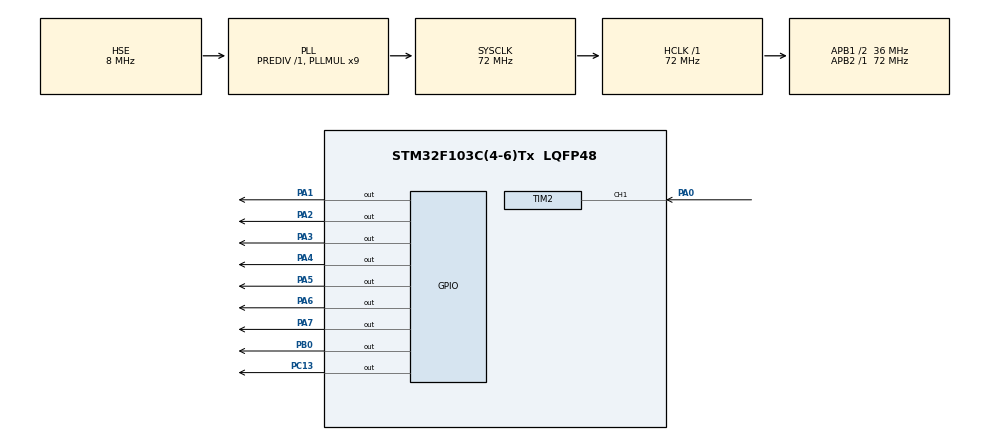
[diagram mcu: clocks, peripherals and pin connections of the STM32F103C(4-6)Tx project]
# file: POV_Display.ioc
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Mcu.Family=STM32F1
Mcu.Name=STM32F103C(4-6)Tx
Mcu.Package=LQFP48
NVIC.PriorityGroup=NVIC_PRIORITYGROUP_4
NVIC.TIM2_IRQn=true\:0\:0\:false\:false\:true\:true\:true\:true
NVIC.TIM3_IRQn=true\:0\:0\:false\:false\:true\:true\:true\:true
PA0-WKUP.Signal=S_TIM2_CH1_ETR
PA1.GPIO_Speed=GPIO_SPEED_FREQ_MEDIUM
PA1.Signal=GPIO_Output
PA13.Mode=Serial_Wire
PA13.Signal=SYS_JTMS-SWDIO
PA14.Mode=Serial_Wire
PA14.Signal=SYS_JTCK-SWCLK
PA2.GPIO_Speed=GPIO_SPEED_FREQ_MEDIUM
PA2.Signal=GPIO_Output
PA3.GPIO_Speed=GPIO_SPEED_FREQ_MEDIUM
PA3.Signal=GPIO_Output
PA4.GPIO_Speed=GPIO_SPEED_FREQ_MEDIUM
PA4.Signal=GPIO_Output
PA5.GPIO_Speed=GPIO_SPEED_FREQ_MEDIUM
PA5.Signal=GPIO_Output
PA6.GPIO_Speed=GPIO_SPEED_FREQ_MEDIUM
PA6.Signal=GPIO_Output
PA7.GPIO_Speed=GPIO_SPEED_FREQ_MEDIUM
PA7.Signal=GPIO_Output
PB0.GPIO_Speed=GPIO_SPEED_FREQ_MEDIUM
PB0.Signal=GPIO_Output
PC13-TAMPER-RTC.GPIO_Speed=GPIO_SPEED_FREQ_MEDIUM
PC13-TAMPER-RTC.Signal=GPIO_Output
PC14-OSC32_IN.Mode=LSE-External-Oscillator
PC14-OSC32_IN.Signal=RCC_OSC32_IN
PC15-OSC32_OUT.Mode=LSE-External-Oscillator
PC15-OSC32_OUT.Signal=RCC_OSC32_OUT
PD0-OSC_IN.Mode=HSE-External-Oscillator
PD0-OSC_IN.Signal=RCC_OSC_IN
PD1-OSC_OUT.Mode=HSE-External-Oscillator
PD1-OSC_OUT.Signal=RCC_OSC_OUT
ProjectManager.HeapSize=0x200
ProjectManager.StackSize=0x400
ProjectManager.TargetToolchain=STM32CubeIDE
RCC.AHBFreq_Value=72000000
RCC.APB1CLKDivider=RCC_HCLK_DIV2
RCC.APB1Freq_Value=36000000
RCC.APB1TimFreq_Value=72000000
RCC.APB2Freq_Value=72000000
RCC.APB2TimFreq_Value=72000000
RCC.HCLKFreq_Value=72000000
RCC.PLLMUL=RCC_PLL_MUL9
RCC.PLLSourceVirtual=RCC_PLLSOURCE_HSE
RCC.SYSCLKFreq_VALUE=72000000
RCC.SYSCLKSource=RCC_SYSCLKSOURCE_PLLCLK
RCC.USBFreq_Value=72000000
SH.S_TIM2_CH1_ETR.0=TIM2_CH1,Input_Capture1_from_TI1
TIM2.AutoReloadPreload=TIM_AUTORELOAD_PRELOAD_ENABLE
TIM2.Channel-Input_Capture1_from_TI1=TIM_CHANNEL_1
TIM2.ICFilter_CH1=10
TIM2.ICPolarity_CH1=TIM_INPUTCHANNELPOLARITY_FALLING
TIM2.Period=65535
TIM2.Prescaler=0
TIM3.AutoReloadPreload=TIM_AUTORELOAD_PRELOAD_ENABLE
TIM3.Period=39
TIM3.Prescaler=0
VP_TIM2_VS_ClockSourceINT.Mode=Internal
VP_TIM3_VS_ClockSourceINT.Mode=Internal
board=custom

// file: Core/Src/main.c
/* USER CODE BEGIN Header */
/**
  ******************************************************************************
  * @file           : main.c
  * @brief          : Main program body
  ******************************************************************************
  * @attention
  *
  * Copyright (c) 2024 STMicroelectronics.
  * All rights reserved.
  *
  * This software is licensed under terms that can be found in the LICENSE file
  * in the root directory of this software component.
  * If no LICENSE file comes with this software, it is provided AS-IS.
  *
  ******************************************************************************
  */
/* USER CODE END Header */
#include "main.h"

/* USER CODE BEGIN Includes */
#include "POV_Display.h"
/* USER CODE END Includes */

TIM_HandleTypeDef htim2;
TIM_HandleTypeDef htim3;

/* USER CODE BEGIN PV */

const uint8_t data[RESOLUTION] =      /* حرة فلسطين */
{
		0x00, 0x04, 0x0c, 0x1c, 0x3c, 0x7c, 0x3c, 0x1c,
		0x0c, 0x04, 0x00, 0x00, 0x71, 0xcd, 0xd8, 0x70,
		0x00, 0x40, 0xc0, 0x6c, 0x38, 0x30, 0x30, 0x30,
		0x30, 0x30, 0x30, 0x30, 0x30, 0x30, 0x30, 0x30,

		0x34, 0x36, 0x16, 0x1c, 0x18, 0x18, 0x00, 0x00,
		0x00, 0x70, 0xc8, 0xc1, 0xc0, 0x64, 0x38, 0xb0,
		0xb0, 0x30, 0x1c, 0x30, 0x3f, 0x38, 0x34, 0x36,
		0x36, 0x1c, 0x30, 0x30, 0x30, 0x30, 0x30, 0x30,

		0x30, 0x30, 0x30, 0x30, 0x30, 0x30, 0x30, 0x30,
		0x30, 0x18, 0x30, 0x30, 0x1c, 0x30, 0x36, 0x1c,
		0x30, 0x30, 0x30, 0x1f, 0x30, 0x30, 0x30, 0x30,
		0x36, 0x15, 0x0e, 0x00, 0x00, 0x00, 0x00, 0x00

};
/* USER CODE END PV */

void SystemClock_Config(void);
static void MX_GPIO_Init(void);
static void MX_TIM2_Init(void);
static void MX_TIM3_Init(void);

int main(void)
{

  /* MCU Configuration--------------------------------------------------------*/

  /* Reset of all peripherals, Initializes the Flash interface and the Systick. */
  HAL_Init();

  /* Configure the system clock */
  SystemClock_Config();

  /* Initialize all configured peripherals */
  MX_GPIO_Init();
  MX_TIM2_Init();
  MX_TIM3_Init();
  /* USER CODE BEGIN 2 */
  POV_Init();
  /*POV_SetCursor(0);
  POV_WriteChar('D');
  HAL_Delay(3000);
  POV_Clear();
  POV_SetCursor(10);
  POV_WriteString((const uint8_t*)"David Alexander");
  HAL_Delay(3000);
  POV_InvertDisplay();
  HAL_Delay(2000);
  POV_Clear();*/
  //POV_DrawBitmap(data, 128);
  /*HAL_Delay(3000);
  POV_Clear();
  POV_WriteCharInPos('k',10);
  HAL_Delay(3000);
  POV_WritePixel(7, 100, ON);
  POV_WritePixel(1, 5, ON);
  HAL_Delay(3000);
  POV_Clear();
  POV_WriteStringInPos((const uint8_t*)"{ Rotella 2024 }", 12);
  HAL_Delay(3000);
  POV_Clear();
  POV_SetCursor(1);
  POV_WriteChar('D');
  HAL_Delay(500);
  POV_WriteChar('a');
  HAL_Delay(500);
  POV_WriteChar('v');
  HAL_Delay(500);
  POV_WriteChar('i');
  HAL_Delay(500);
  POV_WriteChar('d');
  HAL_Delay(1000);
  POV_SetCursor(5);
  POV_WriteChar(' ');
  HAL_Delay(500);
  POV_SetCursor(4);
  POV_WriteChar(' ');
  HAL_Delay(500);
  POV_SetCursor(3);
  POV_WriteChar(' ');
  HAL_Delay(500);
  POV_SetCursor(2);
  POV_WriteChar(' ');
  HAL_Delay(500);
  POV_SetCursor(1);
  POV_WriteChar(' ');
  HAL_Delay(500);
  POV_WriteStringInPos((const uint8_t*)"Free Palestine", 0);
  HAL_Delay(500);
  POV_Clear();
  HAL_Delay(500);
  POV_DrawFrame(5, 5, 20, 5);
  HAL_Delay(1000);
  POV_Clear();
  POV_DrawTriangle(5, 5, 0, 10, 5, 15);
  HAL_Delay(1000);
  POV_Clear();
  POV_DrawStar(3, 20, 5, 10);*/
  //POV_DrawLine(7, 5, 7, 25);
  //POV_DrawLine(80, 0, 80, 7);
  //HAL_Delay(1000);
  //POV_DrawTriangle(8,7, 15,7, 15, 0);
  //POV_DrawTriangle(30,7, 50,7, 30, 0);
  POV_DrawBitmap(data, 96);
  HAL_Delay(5000);
  uint8_t Counter = 0;
  /* USER CODE END 2 */

  /* Infinite loop */
  while (1)
  {

    /* USER CODE BEGIN 3 */
	  for ( Counter = 0; Counter < POVDigits; Counter++ )
	  {
		  POV_Clear();
		  POV_WriteStringInPos((const uint8_t*)"Free Palestine", Counter);
		  HAL_Delay(200);
	  }
	  HAL_Delay(3000);
	  for ( Counter = POVDigits - 1; Counter >= 0 && Counter < POVDigits; Counter-- )
	  {
		  POV_Clear();
	  	  POV_WriteStringInPos((const uint8_t*)"Free Palestine", Counter);
	  	  HAL_Delay(200);
	  }
	  HAL_Delay(3000);

  }
  /* USER CODE END 3 */
}

void SystemClock_Config(void)
{
  RCC_OscInitTypeDef RCC_OscInitStruct = {0};
  RCC_ClkInitTypeDef RCC_ClkInitStruct = {0};

  /** Initializes the RCC Oscillators according to the specified parameters
  * in the RCC_OscInitTypeDef structure.
  */
  RCC_OscInitStruct.OscillatorType = RCC_OSCILLATORTYPE_HSE;
  RCC_OscInitStruct.HSEState = RCC_HSE_ON;
  RCC_OscInitStruct.HSEPredivValue = RCC_HSE_PREDIV_DIV1;
  RCC_OscInitStruct.HSIState = RCC_HSI_ON;
  RCC_OscInitStruct.PLL.PLLState = RCC_PLL_ON;
  RCC_OscInitStruct.PLL.PLLSource = RCC_PLLSOURCE_HSE;
  RCC_OscInitStruct.PLL.PLLMUL = RCC_PLL_MUL9;
  if (HAL_RCC_OscConfig(&RCC_OscInitStruct) != HAL_OK)
  {
    Error_Handler();
  }

  /** Initializes the CPU, AHB and APB buses clocks
  */
  RCC_ClkInitStruct.ClockType = RCC_CLOCKTYPE_HCLK|RCC_CLOCKTYPE_SYSCLK
                              |RCC_CLOCKTYPE_PCLK1|RCC_CLOCKTYPE_PCLK2;
  RCC_ClkInitStruct.SYSCLKSource = RCC_SYSCLKSOURCE_PLLCLK;
  RCC_ClkInitStruct.AHBCLKDivider = RCC_SYSCLK_DIV1;
  RCC_ClkInitStruct.APB1CLKDivider = RCC_HCLK_DIV2;
  RCC_ClkInitStruct.APB2CLKDivider = RCC_HCLK_DIV1;

  if (HAL_RCC_ClockConfig(&RCC_ClkInitStruct, FLASH_LATENCY_2) != HAL_OK)
  {
    Error_Handler();
  }
}

static void MX_TIM2_Init(void)
{

  TIM_ClockConfigTypeDef sClockSourceConfig = {0};
  TIM_MasterConfigTypeDef sMasterConfig = {0};
  TIM_IC_InitTypeDef sConfigIC = {0};

  htim2.Instance = TIM2;
  htim2.Init.Prescaler = 0;
  htim2.Init.CounterMode = TIM_COUNTERMODE_UP;
  htim2.Init.Period = 65535;
  htim2.Init.ClockDivision = TIM_CLOCKDIVISION_DIV1;
  htim2.Init.AutoReloadPreload = TIM_AUTORELOAD_PRELOAD_ENABLE;
  if (HAL_TIM_Base_Init(&htim2) != HAL_OK)
  {
    Error_Handler();
  }
  sClockSourceConfig.ClockSource = TIM_CLOCKSOURCE_INTERNAL;
  if (HAL_TIM_ConfigClockSource(&htim2, &sClockSourceConfig) != HAL_OK)
  {
    Error_Handler();
  }
  if (HAL_TIM_IC_Init(&htim2) != HAL_OK)
  {
    Error_Handler();
  }
  sMasterConfig.MasterOutputTrigger = TIM_TRGO_RESET;
  sMasterConfig.MasterSlaveMode = TIM_MASTERSLAVEMODE_DISABLE;
  if (HAL_TIMEx_MasterConfigSynchronization(&htim2, &sMasterConfig) != HAL_OK)
  {
    Error_Handler();
  }
  sConfigIC.ICPolarity = TIM_INPUTCHANNELPOLARITY_FALLING;
  sConfigIC.ICSelection = TIM_ICSELECTION_DIRECTTI;
  sConfigIC.ICPrescaler = TIM_ICPSC_DIV1;
  sConfigIC.ICFilter = 10;
  if (HAL_TIM_IC_ConfigChannel(&htim2, &sConfigIC, TIM_CHANNEL_1) != HAL_OK)
  {
    Error_Handler();
  }

}

static void MX_TIM3_Init(void)
{

  TIM_ClockConfigTypeDef sClockSourceConfig = {0};
  TIM_MasterConfigTypeDef sMasterConfig = {0};

  htim3.Instance = TIM3;
  htim3.Init.Prescaler = 0;
  htim3.Init.CounterMode = TIM_COUNTERMODE_UP;
  htim3.Init.Period = 39;
  htim3.Init.ClockDivision = TIM_CLOCKDIVISION_DIV1;
  htim3.Init.AutoReloadPreload = TIM_AUTORELOAD_PRELOAD_ENABLE;
  if (HAL_TIM_Base_Init(&htim3) != HAL_OK)
  {
    Error_Handler();
  }
  sClockSourceConfig.ClockSource = TIM_CLOCKSOURCE_INTERNAL;
  if (HAL_TIM_ConfigClockSource(&htim3, &sClockSourceConfig) != HAL_OK)
  {
    Error_Handler();
  }
  sMasterConfig.MasterOutputTrigger = TIM_TRGO_RESET;
  sMasterConfig.MasterSlaveMode = TIM_MASTERSLAVEMODE_DISABLE;
  if (HAL_TIMEx_MasterConfigSynchronization(&htim3, &sMasterConfig) != HAL_OK)
  {
    Error_Handler();
  }

}

static void MX_GPIO_Init(void)
{
  GPIO_InitTypeDef GPIO_InitStruct = {0};

  /* GPIO Ports Clock Enable */
  __HAL_RCC_GPIOC_CLK_ENABLE();
  __HAL_RCC_GPIOD_CLK_ENABLE();
  __HAL_RCC_GPIOA_CLK_ENABLE();
  __HAL_RCC_GPIOB_CLK_ENABLE();

  /*Configure GPIO pin Output Level */
  HAL_GPIO_WritePin(GPIOC, GPIO_PIN_13, GPIO_PIN_RESET);

  /*Configure GPIO pin Output Level */
  HAL_GPIO_WritePin(GPIOA, GPIO_PIN_1|GPIO_PIN_2|GPIO_PIN_3|GPIO_PIN_4
                          |GPIO_PIN_5|GPIO_PIN_6|GPIO_PIN_7, GPIO_PIN_RESET);

  /*Configure GPIO pin Output Level */
  HAL_GPIO_WritePin(GPIOB, GPIO_PIN_0, GPIO_PIN_RESET);

  /*Configure GPIO pin : PC13 */
  GPIO_InitStruct.Pin = GPIO_PIN_13;
  GPIO_InitStruct.Mode = GPIO_MODE_OUTPUT_PP;
  GPIO_InitStruct.Pull = GPIO_NOPULL;
  GPIO_InitStruct.Speed = GPIO_SPEED_FREQ_MEDIUM;
  HAL_GPIO_Init(GPIOC, &GPIO_InitStruct);

  /*Configure GPIO pins : PA1 PA2 PA3 PA4
                           PA5 PA6 PA7 */
  GPIO_InitStruct.Pin = GPIO_PIN_1|GPIO_PIN_2|GPIO_PIN_3|GPIO_PIN_4
                          |GPIO_PIN_5|GPIO_PIN_6|GPIO_PIN_7;
  GPIO_InitStruct.Mode = GPIO_MODE_OUTPUT_PP;
  GPIO_InitStruct.Pull = GPIO_NOPULL;
  GPIO_InitStruct.Speed = GPIO_SPEED_FREQ_MEDIUM;
  HAL_GPIO_Init(GPIOA, &GPIO_InitStruct);

  /*Configure GPIO pin : PB0 */
  GPIO_InitStruct.Pin = GPIO_PIN_0;
  GPIO_InitStruct.Mode = GPIO_MODE_OUTPUT_PP;
  GPIO_InitStruct.Pull = GPIO_NOPULL;
  GPIO_InitStruct.Speed = GPIO_SPEED_FREQ_MEDIUM;
  HAL_GPIO_Init(GPIOB, &GPIO_InitStruct);

}

void Error_Handler(void)
{
  __disable_irq();
  while (1)
  {
  }
}
